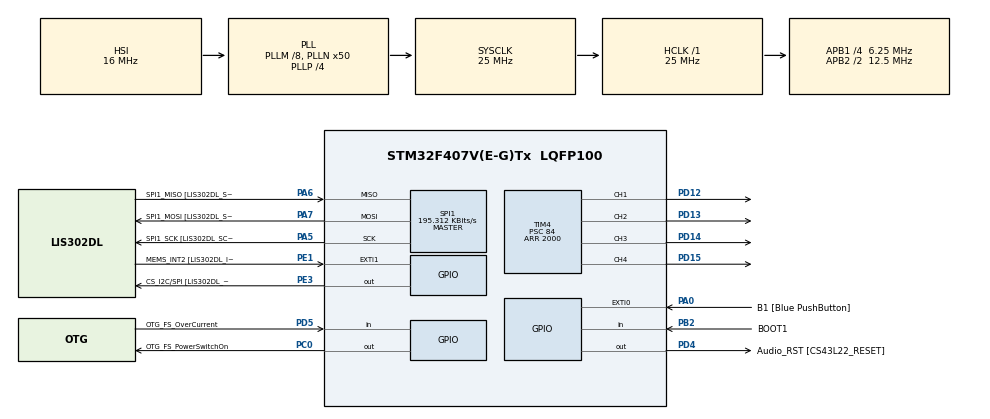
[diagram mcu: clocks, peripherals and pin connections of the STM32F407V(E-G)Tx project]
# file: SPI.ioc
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Mcu.Family=STM32F4
Mcu.Name=STM32F407V(E-G)Tx
Mcu.Package=LQFP100
NVIC.PriorityGroup=NVIC_PRIORITYGROUP_0
PA0-WKUP.GPIO_Label=B1 [Blue PushButton]
PA0-WKUP.Signal=GPXTI0
PA10.GPIO_Label=OTG_FS_ID
PA10.GPIO_Mode=GPIO_MODE_AF_PP
PA10.GPIO_PuPd=GPIO_NOPULL
PA10.GPIO_Speed=GPIO_SPEED_FREQ_LOW
PA10.Signal=USB_OTG_FS_ID
PA11.GPIO_Label=OTG_FS_DM
PA11.GPIO_Mode=GPIO_MODE_AF_PP
PA11.GPIO_PuPd=GPIO_NOPULL
PA11.GPIO_Speed=GPIO_SPEED_FREQ_LOW
PA11.Signal=USB_OTG_FS_DM
PA12.GPIO_Label=OTG_FS_DP
PA12.GPIO_Mode=GPIO_MODE_AF_PP
PA12.GPIO_PuPd=GPIO_NOPULL
PA12.GPIO_Speed=GPIO_SPEED_FREQ_LOW
PA12.Signal=USB_OTG_FS_DP
PA13.GPIO_Label=SWDIO
PA13.Signal=SYS_JTMS-SWDIO
PA14.GPIO_Label=SWCLK
PA14.Signal=SYS_JTCK-SWCLK
PA4.GPIO_Label=I2S3_WS [CS43L22_LRCK]
PA4.GPIO_Mode=GPIO_MODE_AF_PP
PA4.GPIO_PuPd=GPIO_NOPULL
PA4.GPIO_Speed=GPIO_SPEED_FREQ_LOW
PA4.Signal=I2S3_WS
PA5.GPIO_Label=SPI1_SCK [LIS302DL_SCL/SPC]
PA5.GPIO_Mode=GPIO_MODE_AF_PP
PA5.GPIO_PuPd=GPIO_NOPULL
PA5.GPIO_Speed=GPIO_SPEED_FREQ_LOW
PA5.Mode=Full_Duplex_Master
PA5.Signal=SPI1_SCK
PA6.GPIO_Label=SPI1_MISO [LIS302DL_SDO]
PA6.GPIO_Mode=GPIO_MODE_AF_PP
PA6.GPIO_PuPd=GPIO_NOPULL
PA6.GPIO_Speed=GPIO_SPEED_FREQ_LOW
PA6.Mode=Full_Duplex_Master
PA6.Signal=SPI1_MISO
PA7.GPIO_Label=SPI1_MOSI [LIS302DL_SDA/SDI/SDO]
PA7.GPIO_Mode=GPIO_MODE_AF_PP
PA7.GPIO_PuPd=GPIO_NOPULL
PA7.GPIO_Speed=GPIO_SPEED_FREQ_LOW
PA7.Mode=Full_Duplex_Master
PA7.Signal=SPI1_MOSI
PA9.GPIO_Label=VBUS_FS
PA9.GPIO_Mode=GPIO_MODE_INPUT
PA9.GPIO_PuPd=GPIO_NOPULL
PA9.Signal=USB_OTG_FS_VBUS
PB10.GPIO_Label=CLK_IN [MP45DT02_CLK]
PB10.GPIO_Mode=GPIO_MODE_AF_PP
PB10.GPIO_PuPd=GPIO_NOPULL
PB10.GPIO_Speed=GPIO_SPEED_FREQ_LOW
PB10.Signal=I2S2_CK
PB2.GPIO_Label=BOOT1
PB2.GPIO_Mode=GPIO_MODE_INPUT
PB2.GPIO_PuPd=GPIO_NOPULL
PB2.Signal=GPIO_Input
PB3.GPIO_Label=SWO
PB3.Signal=SYS_JTDO-SWO
PB6.GPIO_Label=Audio_SCL [CS43L22_SCL]
PB6.GPIO_Mode=GPIO_MODE_AF_OD
PB6.GPIO_PuPd=GPIO_NOPULL
PB6.GPIO_Speed=GPIO_SPEED_FREQ_LOW
PB6.Signal=I2C1_SCL
PB9.GPIO_Label=Audio_SDA [CS43L22_SDA]
PB9.GPIO_Mode=GPIO_MODE_AF_OD
PB9.GPIO_PuPd=GPIO_NOPULL
PB9.GPIO_Speed=GPIO_SPEED_FREQ_LOW
PB9.Signal=I2C1_SDA
PC0.GPIO_Label=OTG_FS_PowerSwitchOn
PC0.GPIO_PuPd=GPIO_NOPULL
PC0.GPIO_Speed=GPIO_SPEED_FREQ_LOW
PC0.PinState=GPIO_PIN_SET
PC0.Signal=GPIO_Output
PC10.GPIO_Label=I2S3_SCK [CS43L22_SCLK]
PC10.GPIO_Mode=GPIO_MODE_AF_PP
PC10.GPIO_PuPd=GPIO_NOPULL
PC10.GPIO_Speed=GPIO_SPEED_FREQ_LOW
PC10.Signal=I2S3_CK
PC12.GPIO_Label=I2S3_SD [CS43L22_SDIN]
PC12.GPIO_Mode=GPIO_MODE_AF_PP
PC12.GPIO_PuPd=GPIO_NOPULL
PC12.GPIO_Speed=GPIO_SPEED_FREQ_LOW
PC12.Signal=I2S3_SD
PC14-OSC32_IN.GPIO_Label=PC14-OSC32_IN
PC14-OSC32_IN.Signal=RCC_OSC32_IN
PC15-OSC32_OUT.GPIO_Label=PC15-OSC32_OUT
PC15-OSC32_OUT.Signal=RCC_OSC32_OUT
PC3.GPIO_Label=PDM_OUT [MP45DT02_DOUT]
PC3.GPIO_Mode=GPIO_MODE_AF_PP
PC3.GPIO_PuPd=GPIO_NOPULL
PC3.GPIO_Speed=GPIO_SPEED_FREQ_LOW
PC3.Signal=I2S2_SD
PC7.GPIO_Label=I2S3_MCK [CS43L22_MCLK]
PC7.GPIO_Mode=GPIO_MODE_AF_PP
PC7.GPIO_PuPd=GPIO_NOPULL
PC7.GPIO_Speed=GPIO_SPEED_FREQ_LOW
PC7.Signal=I2S3_MCK
PD12.Signal=S_TIM4_CH1
PD13.Signal=S_TIM4_CH2
PD14.Signal=S_TIM4_CH3
PD15.Signal=S_TIM4_CH4
PD4.GPIO_Label=Audio_RST [CS43L22_RESET]
PD4.GPIO_PuPd=GPIO_NOPULL
PD4.GPIO_Speed=GPIO_SPEED_FREQ_LOW
PD4.Signal=GPIO_Output
PD5.GPIO_Label=OTG_FS_OverCurrent
PD5.GPIO_Mode=GPIO_MODE_INPUT
PD5.GPIO_PuPd=GPIO_NOPULL
PD5.Signal=GPIO_Input
PE1.GPIO_Label=MEMS_INT2 [LIS302DL_INT2]
PE1.GPIO_ModeDefaultEXTI=GPIO_MODE_EVT_RISING
PE1.GPIO_PuPd=GPIO_NOPULL
PE1.Signal=GPXTI1
PE3.GPIO_Label=CS_I2C/SPI [LIS302DL_CS_I2C/SPI]
PE3.GPIO_PuPd=GPIO_NOPULL
PE3.GPIO_Speed=GPIO_SPEED_FREQ_LOW
PE3.PinState=GPIO_PIN_SET
PE3.Signal=GPIO_Output
PH0-OSC_IN.GPIO_Label=PH0-OSC_IN
PH0-OSC_IN.Signal=RCC_OSC_IN
PH1-OSC_OUT.GPIO_Label=PH1-OSC_OUT
PH1-OSC_OUT.Signal=RCC_OSC_OUT
ProjectManager.HeapSize=0x200
ProjectManager.StackSize=0x400
ProjectManager.TargetToolchain=STM32CubeIDE
RCC.48MHZClocksFreq_Value=14285714.285714285
RCC.AHBFreq_Value=25000000
RCC.APB1CLKDivider=RCC_HCLK_DIV4
RCC.APB1Freq_Value=6250000
RCC.APB1TimFreq_Value=12500000
RCC.APB2CLKDivider=RCC_HCLK_DIV2
RCC.APB2Freq_Value=12500000
RCC.APB2TimFreq_Value=25000000
RCC.CortexFreq_Value=25000000
RCC.HCLKFreq_Value=25000000
RCC.HSE_VALUE=8000000
RCC.HSI_VALUE=16000000
RCC.LSE_VALUE=32768
RCC.PLLM=8
RCC.PLLN=50
RCC.PLLP=RCC_PLLP_DIV4
RCC.PLLQ=7
RCC.SYSCLKFreq_VALUE=25000000
RCC.SYSCLKSource=RCC_SYSCLKSOURCE_PLLCLK
RCC.VCOOutputFreq_Value=100000000
SH.S_TIM4_CH1.0=TIM4_CH1,PWM Generation1 CH1
SH.S_TIM4_CH2.0=TIM4_CH2,PWM Generation2 CH2
SH.S_TIM4_CH3.0=TIM4_CH3,PWM Generation3 CH3
SH.S_TIM4_CH4.0=TIM4_CH4,PWM Generation4 CH4
SPI1.BaudRatePrescaler=SPI_BAUDRATEPRESCALER_64
SPI1.CLKPhase=SPI_PHASE_1EDGE
SPI1.CLKPolarity=SPI_POLARITY_LOW
SPI1.CalculateBaudRate=195.312 KBits/s
SPI1.Direction=SPI_DIRECTION_2LINES
SPI1.Mode=SPI_MODE_MASTER
SPI1.VirtualType=VM_MASTER
TIM4.Channel-PWM\ Generation1\ CH1=TIM_CHANNEL_1
TIM4.Channel-PWM\ Generation2\ CH2=TIM_CHANNEL_2
TIM4.Channel-PWM\ Generation3\ CH3=TIM_CHANNEL_3
TIM4.Channel-PWM\ Generation4\ CH4=TIM_CHANNEL_4
TIM4.Period=2000
TIM4.Prescaler=84
VP_TIM4_VS_ClockSourceINT.Mode=Internal
board=STM32F407G-DISC1

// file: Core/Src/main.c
/* USER CODE BEGIN Header */
/**
  ******************************************************************************
  * @file           : main.c
  * @brief          : Main program body
  ******************************************************************************
  * @attention
  *
  * Copyright (c) 2026 STMicroelectronics.
  * All rights reserved.
  *
  * This software is licensed under terms that can be found in the LICENSE file
  * in the root directory of this software component.
  * If no LICENSE file comes with this software, it is provided AS-IS.
  *
  ******************************************************************************
  */
/* USER CODE END Header */
#include "main.h"

/* USER CODE BEGIN Includes */
#include <math.h>
/* USER CODE END Includes */

/* USER CODE BEGIN PM */
#define READ 0x80
#define WRITE 0x7F
//The chip is LIS3DSH based on WHO_AM_I register

#define LIS3DSH_CTRL_REG4 0x20
#define LIS3DSH_CTRL_REG5 0x24
#define LIS3DSH_OUT_X_L 0x28

#define XAXIS 0
#define YAXIS 1
#define ZAXIS 2

#define HZ100ALLAXIS 0x67
#define SCALE 0x00

#define DEADZONE 15.0f
#define PWM_MAX 2000.0f
#define MAX_TILT 80.0f

#define MU    0.001f  // NXP AN3461 stabilization parameter
#ifndef M_PI
#define M_PI 3.14159265358979323846
#endif
/* USER CODE END PM */

SPI_HandleTypeDef hspi1;

TIM_HandleTypeDef htim4;

void SystemClock_Config(void);
static void MX_GPIO_Init(void);
static void MX_SPI1_Init(void);
static void MX_TIM4_Init(void);

/* USER CODE BEGIN 0 */
uint32_t Map_Tilt_To_PWM(float angle) {
    if (angle < DEADZONE) return 0;
    if (angle >= MAX_TILT) return (uint32_t)PWM_MAX;

    return (uint32_t)(((angle - DEADZONE) / (MAX_TILT - DEADZONE)) * PWM_MAX);
}

void Accel_WriteRegister(uint8_t regAddr, uint8_t value) {
    uint8_t controlByte = regAddr & WRITE;

    HAL_GPIO_WritePin(CS_I2C_SPI_GPIO_Port, CS_I2C_SPI_Pin, GPIO_PIN_RESET);
    HAL_SPI_Transmit(&hspi1, &controlByte, 1, 10);
    HAL_SPI_Transmit(&hspi1, &value, 1, 10);
    HAL_GPIO_WritePin(CS_I2C_SPI_GPIO_Port, CS_I2C_SPI_Pin, GPIO_PIN_SET);
}

void Accel_ReadXYZ(int16_t* pData) {
    uint8_t rawBuffer[6];
    uint8_t controlByte = LIS3DSH_OUT_X_L | READ;

    HAL_GPIO_WritePin(CS_I2C_SPI_GPIO_Port, CS_I2C_SPI_Pin, GPIO_PIN_RESET);

    HAL_SPI_Transmit(&hspi1, &controlByte, 1, 10);
    HAL_SPI_Receive(&hspi1, rawBuffer, 6, 10);

    HAL_GPIO_WritePin(CS_I2C_SPI_GPIO_Port, CS_I2C_SPI_Pin, GPIO_PIN_SET);

    pData[XAXIS] = (int16_t)((rawBuffer[1] << 8) | rawBuffer[0]);
    pData[YAXIS] = (int16_t)((rawBuffer[3] << 8) | rawBuffer[2]);
    pData[ZAXIS] = (int16_t)((rawBuffer[5] << 8) | rawBuffer[4]);
}
/* USER CODE END 0 */

int main(void)
{

  /* MCU Configuration--------------------------------------------------------*/

  /* Reset of all peripherals, Initializes the Flash interface and the Systick. */
  HAL_Init();

  /* Configure the system clock */
  SystemClock_Config();

  /* Initialize all configured peripherals */
  MX_GPIO_Init();
  MX_SPI1_Init();
  MX_TIM4_Init();
  /* USER CODE BEGIN 2 */

  Accel_WriteRegister(LIS3DSH_CTRL_REG4, HZ100ALLAXIS);
  Accel_WriteRegister(LIS3DSH_CTRL_REG5, SCALE);

  HAL_TIM_PWM_Start(&htim4, TIM_CHANNEL_1);
  HAL_TIM_PWM_Start(&htim4, TIM_CHANNEL_2);
  HAL_TIM_PWM_Start(&htim4, TIM_CHANNEL_3);
  HAL_TIM_PWM_Start(&htim4, TIM_CHANNEL_4);

  int16_t accel_data[3] = {0,0,0};
  float pitch = 0.0f;
  float roll = 0.0f;
  uint32_t duty_green = 0, duty_orange = 0, duty_red = 0, duty_blue = 0;
  /* USER CODE END 2 */

  /* Infinite loop */
  while (1)
  {

    /* USER CODE BEGIN 3 */
	  Accel_ReadXYZ(accel_data);

	  float Gpx = (float)accel_data[XAXIS] * 0.000061f;
	  float Gpy = (float)accel_data[YAXIS] * 0.000061f;
	  float Gpz = (float)accel_data[ZAXIS] * 0.000061f;

	  float pitch_denom = sqrtf((Gpy * Gpy) + (Gpz * Gpz));
	  pitch = atan2f(-Gpx, pitch_denom) * (180.0f / M_PI);

	  float sign_Gpz = (Gpz >= 0.0f) ? 1.0f : -1.0f;
	  float roll_denom = sign_Gpz * sqrtf((Gpz * Gpz) + (MU * Gpx * Gpx));
	  roll = atan2f(Gpy, roll_denom) * (180.0f / M_PI);

	  duty_orange = (roll > 0.0f)  ? Map_Tilt_To_PWM(roll)  : 0;
	  duty_blue   = (roll < 0.0f)  ? Map_Tilt_To_PWM(-roll) : 0;
	  duty_red    = (pitch < 0.0f) ? Map_Tilt_To_PWM(-pitch) : 0;
	  duty_green  = (pitch > 0.0f) ? Map_Tilt_To_PWM(pitch): 0;

	  __HAL_TIM_SET_COMPARE(&htim4, TIM_CHANNEL_1, duty_green);
	  __HAL_TIM_SET_COMPARE(&htim4, TIM_CHANNEL_2, duty_orange);
	  __HAL_TIM_SET_COMPARE(&htim4, TIM_CHANNEL_3, duty_red);
	  __HAL_TIM_SET_COMPARE(&htim4, TIM_CHANNEL_4, duty_blue);

	  HAL_Delay(10);
  }
  /* USER CODE END 3 */
}

void SystemClock_Config(void)
{
  RCC_OscInitTypeDef RCC_OscInitStruct = {0};
  RCC_ClkInitTypeDef RCC_ClkInitStruct = {0};

  /** Configure the main internal regulator output voltage
  */
  __HAL_RCC_PWR_CLK_ENABLE();
  __HAL_PWR_VOLTAGESCALING_CONFIG(PWR_REGULATOR_VOLTAGE_SCALE1);

  /** Initializes the RCC Oscillators according to the specified parameters
  * in the RCC_OscInitTypeDef structure.
  */
  RCC_OscInitStruct.OscillatorType = RCC_OSCILLATORTYPE_HSI;
  RCC_OscInitStruct.HSIState = RCC_HSI_ON;
  RCC_OscInitStruct.HSICalibrationValue = RCC_HSICALIBRATION_DEFAULT;
  RCC_OscInitStruct.PLL.PLLState = RCC_PLL_ON;
  RCC_OscInitStruct.PLL.PLLSource = RCC_PLLSOURCE_HSI;
  RCC_OscInitStruct.PLL.PLLM = 8;
  RCC_OscInitStruct.PLL.PLLN = 50;
  RCC_OscInitStruct.PLL.PLLP = RCC_PLLP_DIV4;
  RCC_OscInitStruct.PLL.PLLQ = 7;
  if (HAL_RCC_OscConfig(&RCC_OscInitStruct) != HAL_OK)
  {
    Error_Handler();
  }

  /** Initializes the CPU, AHB and APB buses clocks
  */
  RCC_ClkInitStruct.ClockType = RCC_CLOCKTYPE_HCLK|RCC_CLOCKTYPE_SYSCLK
                              |RCC_CLOCKTYPE_PCLK1|RCC_CLOCKTYPE_PCLK2;
  RCC_ClkInitStruct.SYSCLKSource = RCC_SYSCLKSOURCE_PLLCLK;
  RCC_ClkInitStruct.AHBCLKDivider = RCC_SYSCLK_DIV1;
  RCC_ClkInitStruct.APB1CLKDivider = RCC_HCLK_DIV4;
  RCC_ClkInitStruct.APB2CLKDivider = RCC_HCLK_DIV2;

  if (HAL_RCC_ClockConfig(&RCC_ClkInitStruct, FLASH_LATENCY_0) != HAL_OK)
  {
    Error_Handler();
  }
}

static void MX_SPI1_Init(void)
{

  /* SPI1 parameter configuration*/
  hspi1.Instance = SPI1;
  hspi1.Init.Mode = SPI_MODE_MASTER;
  hspi1.Init.Direction = SPI_DIRECTION_2LINES;
  hspi1.Init.DataSize = SPI_DATASIZE_8BIT;
  hspi1.Init.CLKPolarity = SPI_POLARITY_LOW;
  hspi1.Init.CLKPhase = SPI_PHASE_1EDGE;
  hspi1.Init.NSS = SPI_NSS_SOFT;
  hspi1.Init.BaudRatePrescaler = SPI_BAUDRATEPRESCALER_64;
  hspi1.Init.FirstBit = SPI_FIRSTBIT_MSB;
  hspi1.Init.TIMode = SPI_TIMODE_DISABLE;
  hspi1.Init.CRCCalculation = SPI_CRCCALCULATION_DISABLE;
  hspi1.Init.CRCPolynomial = 10;
  if (HAL_SPI_Init(&hspi1) != HAL_OK)
  {
    Error_Handler();
  }

}

static void MX_TIM4_Init(void)
{

  TIM_ClockConfigTypeDef sClockSourceConfig = {0};
  TIM_MasterConfigTypeDef sMasterConfig = {0};
  TIM_OC_InitTypeDef sConfigOC = {0};

  htim4.Instance = TIM4;
  htim4.Init.Prescaler = 84;
  htim4.Init.CounterMode = TIM_COUNTERMODE_UP;
  htim4.Init.Period = 2000;
  htim4.Init.ClockDivision = TIM_CLOCKDIVISION_DIV1;
  htim4.Init.AutoReloadPreload = TIM_AUTORELOAD_PRELOAD_DISABLE;
  if (HAL_TIM_Base_Init(&htim4) != HAL_OK)
  {
    Error_Handler();
  }
  sClockSourceConfig.ClockSource = TIM_CLOCKSOURCE_INTERNAL;
  if (HAL_TIM_ConfigClockSource(&htim4, &sClockSourceConfig) != HAL_OK)
  {
    Error_Handler();
  }
  if (HAL_TIM_PWM_Init(&htim4) != HAL_OK)
  {
    Error_Handler();
  }
  sMasterConfig.MasterOutputTrigger = TIM_TRGO_RESET;
  sMasterConfig.MasterSlaveMode = TIM_MASTERSLAVEMODE_DISABLE;
  if (HAL_TIMEx_MasterConfigSynchronization(&htim4, &sMasterConfig) != HAL_OK)
  {
    Error_Handler();
  }
  sConfigOC.OCMode = TIM_OCMODE_PWM1;
  sConfigOC.Pulse = 0;
  sConfigOC.OCPolarity = TIM_OCPOLARITY_HIGH;
  sConfigOC.OCFastMode = TIM_OCFAST_DISABLE;
  if (HAL_TIM_PWM_ConfigChannel(&htim4, &sConfigOC, TIM_CHANNEL_1) != HAL_OK)
  {
    Error_Handler();
  }
  if (HAL_TIM_PWM_ConfigChannel(&htim4, &sConfigOC, TIM_CHANNEL_2) != HAL_OK)
  {
    Error_Handler();
  }
  if (HAL_TIM_PWM_ConfigChannel(&htim4, &sConfigOC, TIM_CHANNEL_3) != HAL_OK)
  {
    Error_Handler();
  }
  if (HAL_TIM_PWM_ConfigChannel(&htim4, &sConfigOC, TIM_CHANNEL_4) != HAL_OK)
  {
    Error_Handler();
  }
  HAL_TIM_MspPostInit(&htim4);

}

static void MX_GPIO_Init(void)
{
  GPIO_InitTypeDef GPIO_InitStruct = {0};

  /* GPIO Ports Clock Enable */
  __HAL_RCC_GPIOE_CLK_ENABLE();
  __HAL_RCC_GPIOC_CLK_ENABLE();
  __HAL_RCC_GPIOH_CLK_ENABLE();
  __HAL_RCC_GPIOA_CLK_ENABLE();
  __HAL_RCC_GPIOB_CLK_ENABLE();
  __HAL_RCC_GPIOD_CLK_ENABLE();

  /*Configure GPIO pin Output Level */
  HAL_GPIO_WritePin(CS_I2C_SPI_GPIO_Port, CS_I2C_SPI_Pin, GPIO_PIN_SET);

  /*Configure GPIO pin Output Level */
  HAL_GPIO_WritePin(OTG_FS_PowerSwitchOn_GPIO_Port, OTG_FS_PowerSwitchOn_Pin, GPIO_PIN_SET);

  /*Configure GPIO pin Output Level */
  HAL_GPIO_WritePin(Audio_RST_GPIO_Port, Audio_RST_Pin, GPIO_PIN_RESET);

  /*Configure GPIO pin : CS_I2C_SPI_Pin */
  GPIO_InitStruct.Pin = CS_I2C_SPI_Pin;
  GPIO_InitStruct.Mode = GPIO_MODE_OUTPUT_PP;
  GPIO_InitStruct.Pull = GPIO_NOPULL;
  GPIO_InitStruct.Speed = GPIO_SPEED_FREQ_LOW;
  HAL_GPIO_Init(CS_I2C_SPI_GPIO_Port, &GPIO_InitStruct);

  /*Configure GPIO pin : OTG_FS_PowerSwitchOn_Pin */
  GPIO_InitStruct.Pin = OTG_FS_PowerSwitchOn_Pin;
  GPIO_InitStruct.Mode = GPIO_MODE_OUTPUT_PP;
  GPIO_InitStruct.Pull = GPIO_NOPULL;
  GPIO_InitStruct.Speed = GPIO_SPEED_FREQ_LOW;
  HAL_GPIO_Init(OTG_FS_PowerSwitchOn_GPIO_Port, &GPIO_InitStruct);

  /*Configure GPIO pin : PDM_OUT_Pin */
  GPIO_InitStruct.Pin = PDM_OUT_Pin;
  GPIO_InitStruct.Mode = GPIO_MODE_AF_PP;
  GPIO_InitStruct.Pull = GPIO_NOPULL;
  GPIO_InitStruct.Speed = GPIO_SPEED_FREQ_LOW;
  GPIO_InitStruct.Alternate = GPIO_AF5_SPI2;
  HAL_GPIO_Init(PDM_OUT_GPIO_Port, &GPIO_InitStruct);

  /*Configure GPIO pin : B1_Pin */
  GPIO_InitStruct.Pin = B1_Pin;
  GPIO_InitStruct.Mode = GPIO_MODE_IT_RISING;
  GPIO_InitStruct.Pull = GPIO_NOPULL;
  HAL_GPIO_Init(B1_GPIO_Port, &GPIO_InitStruct);

  /*Configure GPIO pin : I2S3_WS_Pin */
  GPIO_InitStruct.Pin = I2S3_WS_Pin;
  GPIO_InitStruct.Mode = GPIO_MODE_AF_PP;
  GPIO_InitStruct.Pull = GPIO_NOPULL;
  GPIO_InitStruct.Speed = GPIO_SPEED_FREQ_LOW;
  GPIO_InitStruct.Alternate = GPIO_AF6_SPI3;
  HAL_GPIO_Init(I2S3_WS_GPIO_Port, &GPIO_InitStruct);

  /*Configure GPIO pin : BOOT1_Pin */
  GPIO_InitStruct.Pin = BOOT1_Pin;
  GPIO_InitStruct.Mode = GPIO_MODE_INPUT;
  GPIO_InitStruct.Pull = GPIO_NOPULL;
  HAL_GPIO_Init(BOOT1_GPIO_Port, &GPIO_InitStruct);

  /*Configure GPIO pin : CLK_IN_Pin */
  GPIO_InitStruct.Pin = CLK_IN_Pin;
  GPIO_InitStruct.Mode = GPIO_MODE_AF_PP;
  GPIO_InitStruct.Pull = GPIO_NOPULL;
  GPIO_InitStruct.Speed = GPIO_SPEED_FREQ_LOW;
  GPIO_InitStruct.Alternate = GPIO_AF5_SPI2;
  HAL_GPIO_Init(CLK_IN_GPIO_Port, &GPIO_InitStruct);

  /*Configure GPIO pins : I2S3_MCK_Pin I2S3_SCK_Pin I2S3_SD_Pin */
  GPIO_InitStruct.Pin = I2S3_MCK_Pin|I2S3_SCK_Pin|I2S3_SD_Pin;
  GPIO_InitStruct.Mode = GPIO_MODE_AF_PP;
  GPIO_InitStruct.Pull = GPIO_NOPULL;
  GPIO_InitStruct.Speed = GPIO_SPEED_FREQ_LOW;
  GPIO_InitStruct.Alternate = GPIO_AF6_SPI3;
  HAL_GPIO_Init(GPIOC, &GPIO_InitStruct);

  /*Configure GPIO pin : VBUS_FS_Pin */
  GPIO_InitStruct.Pin = VBUS_FS_Pin;
  GPIO_InitStruct.Mode = GPIO_MODE_INPUT;
  GPIO_InitStruct.Pull = GPIO_NOPULL;
  HAL_GPIO_Init(VBUS_FS_GPIO_Port, &GPIO_InitStruct);

  /*Configure GPIO pins : OTG_FS_ID_Pin OTG_FS_DM_Pin OTG_FS_DP_Pin */
  GPIO_InitStruct.Pin = OTG_FS_ID_Pin|OTG_FS_DM_Pin|OTG_FS_DP_Pin;
  GPIO_InitStruct.Mode = GPIO_MODE_AF_PP;
  GPIO_InitStruct.Pull = GPIO_NOPULL;
  GPIO_InitStruct.Speed = GPIO_SPEED_FREQ_LOW;
  GPIO_InitStruct.Alternate = GPIO_AF10_OTG_FS;
  HAL_GPIO_Init(GPIOA, &GPIO_InitStruct);

  /*Configure GPIO pin : Audio_RST_Pin */
  GPIO_InitStruct.Pin = Audio_RST_Pin;
  GPIO_InitStruct.Mode = GPIO_MODE_OUTPUT_PP;
  GPIO_InitStruct.Pull = GPIO_NOPULL;
  GPIO_InitStruct.Speed = GPIO_SPEED_FREQ_LOW;
  HAL_GPIO_Init(Audio_RST_GPIO_Port, &GPIO_InitStruct);

  /*Configure GPIO pin : OTG_FS_OverCurrent_Pin */
  GPIO_InitStruct.Pin = OTG_FS_OverCurrent_Pin;
  GPIO_InitStruct.Mode = GPIO_MODE_INPUT;
  GPIO_InitStruct.Pull = GPIO_NOPULL;
  HAL_GPIO_Init(OTG_FS_OverCurrent_GPIO_Port, &GPIO_InitStruct);

  /*Configure GPIO pins : Audio_SCL_Pin Audio_SDA_Pin */
  GPIO_InitStruct.Pin = Audio_SCL_Pin|Audio_SDA_Pin;
  GPIO_InitStruct.Mode = GPIO_MODE_AF_OD;
  GPIO_InitStruct.Pull = GPIO_NOPULL;
  GPIO_InitStruct.Speed = GPIO_SPEED_FREQ_LOW;
  GPIO_InitStruct.Alternate = GPIO_AF4_I2C1;
  HAL_GPIO_Init(GPIOB, &GPIO_InitStruct);

  /*Configure GPIO pin : MEMS_INT2_Pin */
  GPIO_InitStruct.Pin = MEMS_INT2_Pin;
  GPIO_InitStruct.Mode = GPIO_MODE_EVT_RISING;
  GPIO_InitStruct.Pull = GPIO_NOPULL;
  HAL_GPIO_Init(MEMS_INT2_GPIO_Port, &GPIO_InitStruct);

}

void Error_Handler(void)
{
  __disable_irq();
  while (1)
  {
  }
}
